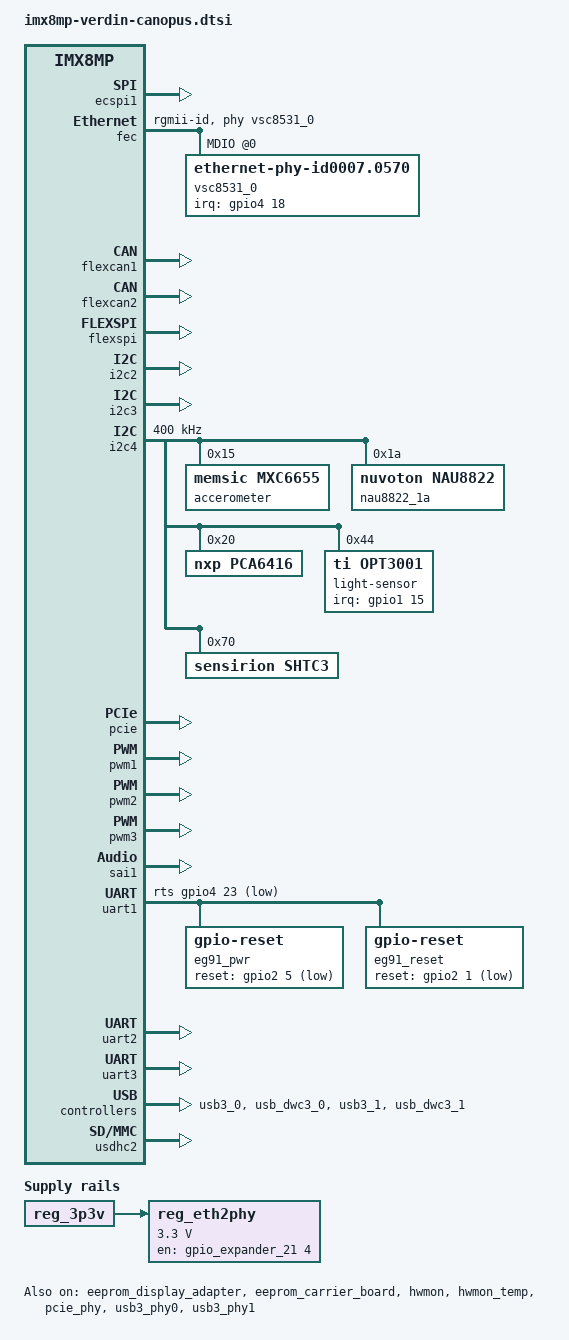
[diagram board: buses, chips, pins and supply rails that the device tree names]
// SPDX-License-Identifier: GPL-2.0-or-later OR MIT
/*
 * Copyright 2022 Toradex
 */
#include "dt-bindings/net/mscc-phy-vsc8531.h"

/ {
	reg_eth2phy: regulator-eth2phy {
		compatible = "regulator-fixed";
		enable-active-high;
		gpio = <&gpio_expander_21 4 GPIO_ACTIVE_HIGH>; /* ETH_PWR_EN */
		off-on-delay = <500000>;
		regulator-max-microvolt = <3300000>;
		regulator-min-microvolt = <3300000>;
		regulator-name = "+V3.3_ETH";
		startup-delay-us = <200000>;
		vin-supply = <&reg_3p3v>;
	};

	sound {
		compatible = "simple-audio-card";
		simple-audio-card,bitclock-master = <&codec_dai>;
		simple-audio-card,format = "i2s";
		simple-audio-card,frame-master = <&codec_dai>;
		simple-audio-card,mclk-fs = <256>;
		simple-audio-card,name = "imx8mp-nau8822";
		simple-audio-card,routing =
			"Headphones", "LHP",
			"Headphones", "RHP",
			"Speaker", "LSPK",
			"Speaker", "RSPK",
			"Line Out", "AUXOUT1",
			"Line Out", "AUXOUT2",
			"LAUX", "Line In",
			"RAUX", "Line In",
			"LMICP", "Mic In",
			"RMICP", "Mic In";
		simple-audio-card,widgets =
			"Headphones", "Headphones",
			"Line Out", "Line Out",
			"Speaker", "Speaker",
			"Microphone", "Mic In",
			"Line", "Line In";

		codec_dai: simple-audio-card,codec {
			clocks = <&audio_blk_ctrl IMX8MP_CLK_AUDIO_BLK_CTRL_SAI1_MCLK1>;
			sound-dai = <&nau8822_1a>;
		};

		simple-audio-card,cpu {
			sound-dai = <&sai1>;
		};
	};

    aliases {
        ethernet0 = &fec;
    };
};

&backlight {
	power-supply = <&reg_3p3v>;
};

/* Verdin SPI_1 */
&ecspi1 {
	status = "okay";
};

/* EEPROM on display adapter boards */
&eeprom_display_adapter {
	status = "okay";
};

/* EEPROM on Verdin Development board */
&eeprom_carrier_board {
	status = "okay";
};

&eqos {
	status = "disabled";
};

&fec {
	fsl,magic-packet;
	phy-handle = <&vsc8531_0>;
	phy-mode = "rgmii-id";
	pinctrl-names = "default", "sleep";
	pinctrl-0 = <&pinctrl_fec>;
	pinctrl-1 = <&pinctrl_fec_sleep>;
    status = "okay";

	mdio {
		#address-cells = <1>;
		#size-cells = <0>;

        vsc8531_0: ethernet-phy@0 {
            compatible = "ethernet-phy-id0007.0570";
            vsc8531,vddmac		= <3300>;
            vsc8531,edge-slowdown	= <7>;
            vsc8531,led-0-mode	= <VSC8531_LINK_1000_ACTIVITY>;
            vsc8531,led-1-mode	= <VSC8531_LINK_100_ACTIVITY>;
			interrupt-parent = <&gpio4>;
			interrupts = <18 IRQ_TYPE_LEVEL_LOW>;
		    //load-save-gpios		= <&gpio 10 GPIO_ACTIVE_HIGH>;
        };
	}; 
};

&flexcan1 {
	status = "okay";
};

&flexcan2 {
	status = "okay";
};

/* Verdin QSPI_1 */
&flexspi {
	status = "okay";
};

&gpio_expander_21 {
	status = "okay";
	vcc-supply = <&reg_1p8v>;
};

/* Current measurement into module VCC */
&hwmon {
	status = "okay";
};

&hwmon_temp {
	vs-supply = <&reg_1p8v>;
	status = "okay";
};

/* Verdin I2C_2_DSI */
&i2c2 {
	status = "okay";
    /delete-property/ atmel_mxt_ts_mezzanine;
};

&i2c3 {
	status = "okay";
};

/* Verdin I2C_1 */
&i2c4 {
	status = "okay";
	#address-cells = <1>;
	#size-cells = <0>;
	clock-frequency = <400000>;

	accerometer: mx6655@15 {
		compatible = "memsic,mxc6655";
		reg = <0x15>;
	};

	/* Audio Codec */
	nau8822_1a: audio-codec@1a {
		compatible = "nuvoton,nau8822";
		reg = <0x1a>;
		pinctrl-names = "default";
		pinctrl-0 = <&pinctrl_sai1>;
		#sound-dai-cells = <0>;
	};

	/* IO Expander */
	pca6416: gpio@20 {
		compatible = "nxp,pca6416";
		reg = <0x20>;
		gpio-controller;
		#gpio-cells = <2>;
	};

	light-sensor@44 {
		compatible = "ti,opt3001";
		reg = <0x44>;
		interrupt-parent = <&gpio1>;
		interrupts = <15 IRQ_TYPE_EDGE_FALLING>;
	};

	/* Temperature, humidty sensor */
	shtc3: shtc3@70 {
		compatible = "sensirion,shtc3";
		reg = <0x70>;
		sensirion,blocking-io;
	};

};

/* Verdin PCIE_1 */
&pcie {
	epdev_on-supply = <&reg_3p3v>;
	status = "okay";
};

&pcie_phy {
	status = "okay";
};

/* Verdin PWM_1 */
&pwm1 {
	status = "okay";
};

/* Verdin PWM_2 */
&pwm2 {
	status = "okay";
};

/* Verdin PWM_3_DSI */
&pwm3 {
	status = "okay";
};

&reg_usdhc2_vmmc {
	vin-supply = <&reg_3p3v>;
};

/* Verdin I2S_1 */
&sai1 {
	assigned-clocks = <&clk IMX8MP_CLK_SAI1>;
	assigned-clock-parents = <&clk IMX8MP_AUDIO_PLL1_OUT>;
	assigned-clock-rates = <24576000>;
	fsl,sai-mclk-direction-output;
	status = "okay";
};

/* Verdin UART_1, connector X50 through RS485 transceiver */
&uart1 {
/*	linux,rs485-enabled-at-boot-time;
	rs485-rts-active-low;
	rs485-rx-during-tx;*/
	status = "okay";
    cts-gpios = <&gpio4 24 GPIO_ACTIVE_LOW>;
	rts-gpios = <&gpio4 23 GPIO_ACTIVE_LOW>;

    eg91_pwr: gpio-reset {
        compatible = "gpio-reset";
	    reset-gpios = <&gpio2 5 GPIO_ACTIVE_LOW>;
        reset-delay-us = <500000>;
    };

    eg91_reset: gpio-reset {
        compatible = "gpio-reset";
	    reset-gpios = <&gpio2 1 GPIO_ACTIVE_LOW>;
        reset-delay-us = <250000>;
    };
};

/* Verdin UART_2 */
&uart2 {
	status = "okay";
};

/* Verdin UART_3, used as the Linux Console */
&uart3 {
	status = "okay";
};

/* Verdin USB_1 */
&usb3_phy0 {
	status = "okay";
};

&usb3_0 {
	status = "okay";
};

&usb_dwc3_0 {
	status = "okay";
};

/* Verdin USB_2 */
&usb3_phy1 {
	status = "okay";
};

&usb3_1 {
	status = "okay";
};

&usb_dwc3_1 {
	status = "okay";
};

/* Limit frequency on dev board due to long traces and bad signal integrity */
&usdhc2 {
	max-frequency = <100000000>;
	status = "okay";
};

